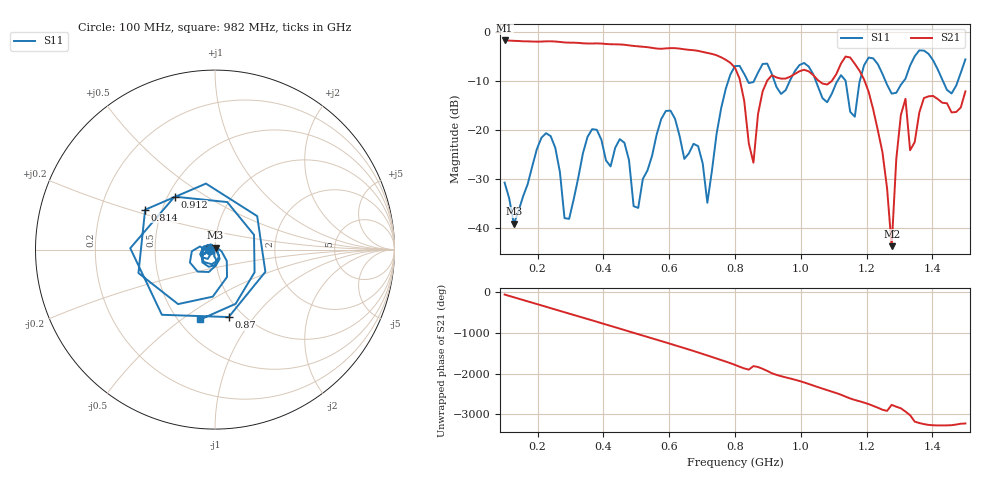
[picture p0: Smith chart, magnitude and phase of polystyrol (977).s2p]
! NanoVNA-App
! Date: 2025-09-25 15:37:29
! Start: 100MHz Stop: 1,5GHz Points: 101
! S-Parameter data: F S11 S21 S12 S22
# Hz S RI R 50
!  Frequency  S11_Real  S11_Imag  S21_Real  S21_Imag  S12_Real  S12_Imag  S22_Real  S22_Imag
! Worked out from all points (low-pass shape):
!   101 points, 100 MHz to 1.5 GHz, reference 50 ohm
!   highest |S21| = -1.80 dB at 100 MHz (marker M1); lowest = -43.6 dB at 1.276 GHz (marker M2)
!   |S21| within 3 dB of the highest: start of sweep to 743.2 MHz
!   lowest |S11| = -39.1 dB at 128 MHz (marker M3), VSWR 1.02, Z = 50.3 + j1.06 ohm
!   |S11| at or under -10 dB: start of sweep to 779.8 MHz; 1.045 GHz to 1.112 GHz (66.31 MHz wide, 6.15 % of centre); 1.257 GHz to 1.313 GHz (56.29 MHz wide, 4.38 % of centre) (the widest 3 of 7)
!   S12 and S22 are empty: the file has one direction only
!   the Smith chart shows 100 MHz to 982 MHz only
!   S11 on the Smith chart (normalised r, x): 100 MHz: 0.94, -0.01; 814 MHz: 0.40, +0.22; 870 MHz: 0.86, -0.76; 912 MHz: 0.54, +0.37; 982 MHz: 0.64, -0.59
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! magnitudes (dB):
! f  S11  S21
! 100 MHz  -30.7  -1.8
! 128 MHz  -39.1  -1.9
! 212 MHz  -21.6  -2.0
! 282 MHz  -37.9  -2.2
! 338 MHz  -24.7  -2.4
! 464 MHz  -22.6  -2.7
! 506 MHz  -35.9  -3.0
! 576 MHz  -17.8  -3.5
! 716 MHz  -34.8  -4.3
! 800 MHz  -7.0  -7.4
! 814 MHz  -7.0  -9.6
! 856 MHz  -10.3  -26.7
! 870 MHz  -8.3  -16.7
! 912 MHz  -8.6  -8.9
! 982 MHz  -8.0  -8.6
! 1.038 GHz  -8.7  -8.9
! 1.164 GHz  -17.3  -6.5
! 1.192 GHz  -6.9  -9.7
! 1.276 GHz  -12.6  -43.6
! 1.318 GHz  -9.6  -13.7
! 1.332 GHz  -6.9  -24.1
! 1.5 GHz  -5.7  -12.2
